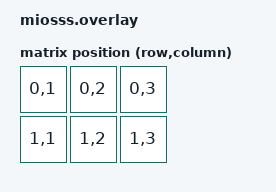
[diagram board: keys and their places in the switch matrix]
#include <dt-bindings/zmk/matrix_transform.h>

/ {
    chosen {
        zmk,kscan = &kscan;
        zmk,matrix_transform = &transform;
    };

    kscan: kscan {
        compatible = "zmk,kscan-gpio-matrix";
        label = "KSCAN";
        diode-direction = "col2row";

        row-gpios = <&xiao_d 0 (GPIO_ACTIVE_HIGH | GPIO_PULL_DOWN)>,
                    <&xiao_d 1 (GPIO_ACTIVE_HIGH | GPIO_PULL_DOWN)>,


        col-gpios = <&xiao_d 4 (GPIO_ACTIVE_HIGH)>,
                    <&xiao_d 5 (GPIO_ACTIVE_HIGH)>,
                    <&xiao_d 6 (GPIO_ACTIVE_HIGH)>,

    };

    transform: matrix_transform {
        compatible = "zmk,matrix-transform";
        rows = <2>;
        columns = <3>;

        map = <
            RC(0, 1) RC(0, 2) RC(0, 3)
            RC(1, 1) RC(1, 2) RC(1, 3)

        >;
    };
};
